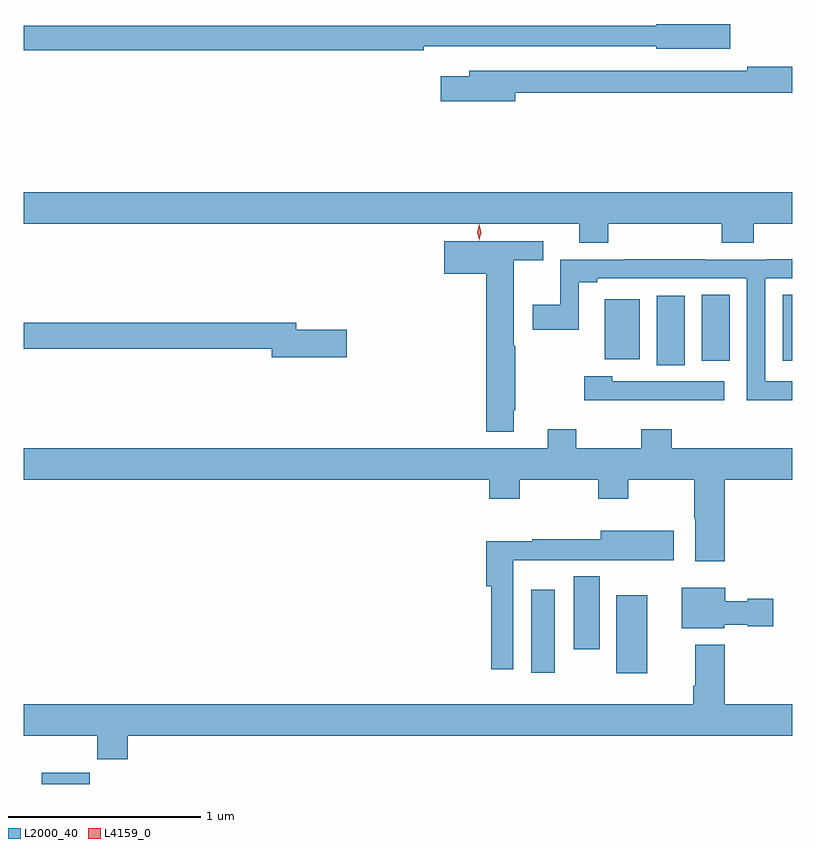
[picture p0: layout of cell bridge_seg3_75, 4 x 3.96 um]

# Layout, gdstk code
import gdstk
lib = gdstk.Library(unit=1e-6, precision=1e-09)
def R(c, l, rs):  # rectangles x0, y0, x1, y1
    for r in rs: c.add(gdstk.rectangle(r[:2], r[2:], *l))
def P(c, l, *ps):  # polygons
    for p in ps: c.add(gdstk.Polygon(p, *l))
L2000_40 = (2000, 40)
L4159_0 = (4159, 0)

bridge_seg3_75 = lib.new_cell('bridge_seg3_75')
R(bridge_seg3_75, L2000_40, [(459.851,670.028,460.1,670.087), (462.842,670.605,463.003,671.011), (462.398,670.608,462.52,671.038), (462.62,670.728,462.754,671.108), (463.052,672.208,463.198,672.568), (463.286,672.231,463.432,672.575), (463.706,672.231,463.757,672.575), (462.782,672.239,462.964,672.55)])
P(bridge_seg3_75, L2000_40, [(461.84,673.866),(463.05,673.866),(463.05,673.853),(463.435,673.853),(463.435,673.983),(463.05,673.983),(463.05,673.975),(459.757,673.975),(459.757,673.846),(461.84,673.846)],
  [(462.316,673.624),(463.757,673.624),(463.757,673.76),(463.522,673.76),(463.522,673.74),(462.077,673.74),(462.077,673.711),(461.928,673.711),(461.928,673.582),(462.316,673.582)],
  [(462.8,672.944),(463.391,672.944),(463.391,672.845),(463.556,672.845),(463.556,672.944),(463.757,672.944),(463.757,673.108),(459.757,673.108),(459.757,672.944),(462.647,672.944),(462.647,672.845),(462.8,672.845)],
  [(462.307,671.974),(462.315,671.974),(462.315,672.308),(462.307,672.308),(462.307,672.754),(462.46,672.754),(462.46,672.852),(462.18,672.852),(462.18,672.853),(461.946,672.853),(461.946,672.683),(462.164,672.683),(462.164,671.862),(462.307,671.862)],
  [(463.757,672.123),(463.617,672.123),(463.617,672.66),(463.757,672.66),(463.757,672.758),(463.624,672.758),(463.624,672.756),(463.307,672.756),(463.307,672.758),(462.883,672.758),(462.883,672.756),(462.549,672.756),(462.549,672.523),(462.405,672.523),(462.405,672.392),(462.646,672.392),(462.646,672.64),(462.742,672.64),(462.742,672.66),(463.521,672.66),(463.521,672.025),(463.757,672.025)],
  [(461.437,672.392),(461.176,672.392),(461.176,672.428),(459.757,672.428),(459.757,672.292),(461.048,672.292),(461.048,672.25),(461.437,672.25)],
  [(463.402,672.123),(462.819,672.123),(462.819,672.151),(462.675,672.151),(462.675,672.026),(463.402,672.026)],
  [(462.633,671.875),(462.485,671.875),(462.485,671.776),(459.757,671.776),(459.757,671.612),(462.179,671.612),(462.179,671.513),(462.339,671.513),(462.339,671.612),(462.748,671.612),(462.748,671.513),(462.903,671.513),(462.903,671.612),(463.246,671.612),(463.246,671.408),(463.253,671.408),(463.253,671.187),(463.406,671.187),(463.406,671.612),(463.757,671.612),(463.757,671.776),(463.13,671.776),(463.13,671.875),(462.97,671.875),(462.97,671.776),(462.633,671.776)],
  [(462.306,671.192),(462.516,671.192),(462.516,671.193),(462.865,671.193),(462.865,671.192),(463.141,671.192),(463.141,671.347),(462.761,671.347),(462.761,671.302),(462.403,671.302),(462.403,671.292),(462.164,671.292),(462.164,671.057),(462.19,671.057),(462.19,670.626),(462.306,670.626)],
  [(463.404,670.856),(463.524,670.856),(463.524,670.849),(463.657,670.849),(463.657,670.991),(463.524,670.991),(463.524,670.978),(463.408,670.978),(463.408,671.05),(463.181,671.05),(463.181,670.838),(463.404,670.838)],
  [(460.298,670.28),(463.757,670.28),(463.757,670.444),(463.406,670.444),(463.406,670.753),(463.253,670.753),(463.253,670.54),(463.241,670.54),(463.241,670.444),(459.757,670.444),(459.757,670.28),(460.141,670.28),(460.141,670.156),(460.298,670.156)])
P(bridge_seg3_75, L4159_0, [(462.127,672.858),(462.127,672.858),(462.117,672.899),(462.127,672.939),(462.127,672.94),(462.127,672.939),(462.137,672.899),(462.127,672.858)])

lib.write_gds('bridge_seg3_75.gds')
